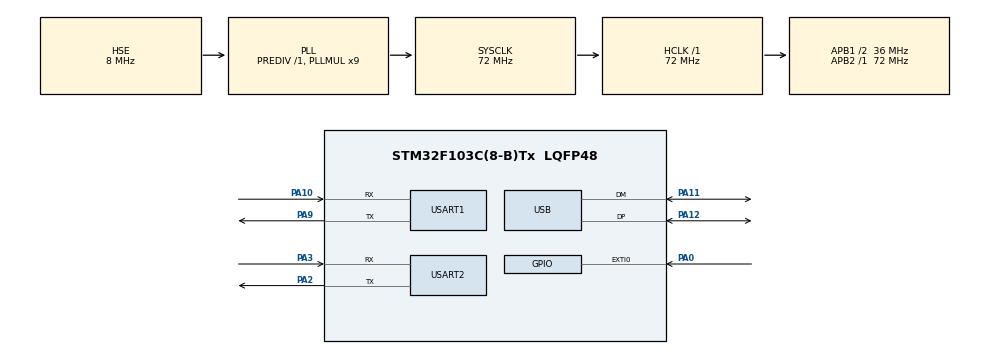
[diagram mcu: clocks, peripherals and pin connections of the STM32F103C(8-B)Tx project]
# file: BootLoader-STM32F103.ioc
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Mcu.Family=STM32F1
Mcu.Name=STM32F103C(8-B)Tx
Mcu.Package=LQFP48
NVIC.EXTI0_IRQn=true\:0\:0\:false\:false\:true\:true\:true\:true
NVIC.PriorityGroup=NVIC_PRIORITYGROUP_4
NVIC.USART1_IRQn=true\:0\:0\:false\:false\:true\:true\:true\:true
NVIC.USART2_IRQn=true\:0\:0\:false\:false\:true\:true\:true\:true
NVIC.USB_LP_CAN1_RX0_IRQn=true\:0\:0\:false\:false\:true\:false\:true\:true
PA0-WKUP.GPIO_PuPd=GPIO_PULLUP
PA0-WKUP.Signal=GPXTI0
PA10.Mode=Asynchronous
PA10.Signal=USART1_RX
PA11.Mode=Device
PA11.Signal=USB_DM
PA12.Mode=Device
PA12.Signal=USB_DP
PA13.Mode=Serial_Wire
PA13.Signal=SYS_JTMS-SWDIO
PA14.Mode=Serial_Wire
PA14.Signal=SYS_JTCK-SWCLK
PA2.Mode=Asynchronous
PA2.Signal=USART2_TX
PA3.Mode=Asynchronous
PA3.Signal=USART2_RX
PA9.Mode=Asynchronous
PA9.Signal=USART1_TX
PD0-OSC_IN.Mode=HSE-External-Oscillator
PD0-OSC_IN.Signal=RCC_OSC_IN
PD1-OSC_OUT.Mode=HSE-External-Oscillator
PD1-OSC_OUT.Signal=RCC_OSC_OUT
ProjectManager.HeapSize=0x200
ProjectManager.StackSize=0x400
ProjectManager.TargetToolchain=STM32CubeIDE
RCC.AHBFreq_Value=72000000
RCC.APB1CLKDivider=RCC_HCLK_DIV2
RCC.APB1Freq_Value=36000000
RCC.APB1TimFreq_Value=72000000
RCC.APB2Freq_Value=72000000
RCC.APB2TimFreq_Value=72000000
RCC.HCLKFreq_Value=72000000
RCC.PLLMUL=RCC_PLL_MUL9
RCC.PLLSourceVirtual=RCC_PLLSOURCE_HSE
RCC.SYSCLKFreq_VALUE=72000000
RCC.SYSCLKSource=RCC_SYSCLKSOURCE_PLLCLK
RCC.USBFreq_Value=48000000
RCC.USBPrescaler=RCC_USBCLKSOURCE_PLL_DIV1_5
USART1.VirtualMode=VM_ASYNC
USART2.VirtualMode=VM_ASYNC
USB_DEVICE.CLASS_NAME_FS=CDC
USB_DEVICE.PRODUCT_STRING_CDC_FS=STM32 Virtual Port
USB_DEVICE.VirtualMode=Cdc
USB_DEVICE.VirtualModeFS=Cdc_FS
VP_USB_DEVICE_VS_USB_DEVICE_CDC_FS.Mode=CDC_FS
board=custom

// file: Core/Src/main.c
/* USER CODE BEGIN Header */
/**
 ******************************************************************************
 * @file           : main.c
 * @brief          : Main program body
 ******************************************************************************
 * @attention
 *
 * <h2><center>&copy; Copyright (c) 2020 STMicroelectronics.
 * All rights reserved.</center></h2>
 *
 * This software component is licensed by ST under BSD 3-Clause license,
 * the "License"; You may not use this file except in compliance with the
 * License. You may obtain a copy of the License at:
 *                        opensource.org/licenses/BSD-3-Clause
 *
 ******************************************************************************
 */
/* USER CODE END Header */
#include "main.h"
#include "usb_device.h"

/* USER CODE BEGIN Includes */
#include <string.h>
#include <stdint.h>
#include <stdio.h>
#include <stdarg.h>
#include <stm32f1xx_hal_flash_ex.h>
#include "usbd_cdc_if.h"
/* USER CODE END Includes */

 UART_HandleTypeDef huart1;
UART_HandleTypeDef huart2;

/* USER CODE BEGIN PV */
#define BL_DEBUG_MSG_EN 1

#define D_UART &huart1
//#define C_UART huart2

#define FLASH_ADDRESS_APP 		0x08008000U
#define FLASH_ADDRESS_UPDATE	0x08018000U
#define INVALID_PAGE 0x04
/* USER CODE END PV */

void SystemClock_Config(void);
static void MX_GPIO_Init(void);
static void MX_USART1_UART_Init(void);
static void MX_USART2_UART_Init(void);
/* USER CODE BEGIN PFP */
void Print_Msg(char *Format,...);
void Show_Bootloader_Menu(void);
void Bootloader_Jump_To_User_App(void);
HAL_StatusTypeDef Execute_Flash_Erase(uint8_t Number_Of_Sector);
HAL_StatusTypeDef Execute_Flash_Write(uint32_t *Data_Buffer, uint32_t Flash_Address, uint32_t Length);
HAL_StatusTypeDef Execute_Flash_Read(uint32_t Flash_Address, uint32_t *Rx_Buffer, uint32_t Number_Of_Words);
void Get_Binary_File_From_UART(void);
uint8_t Get_UART_Byte(void);
/* USER CODE END PFP */

/* USER CODE BEGIN 0 */
GPIO_PinState Pin_Status = GPIO_PIN_SET;
HAL_StatusTypeDef Ret_Code;

uint8_t UART_Buffer = 0;
uint8_t UART_Data_Available = 0;
char Test_Write_Buffer[] = "Testing Flash Writing\n";
char Test_Read_Buffer[24] = {0};
uint8_t Length = 24;
/* USER CODE END 0 */

int main(void)
{

  /* MCU Configuration--------------------------------------------------------*/

  /* Reset of all peripherals, Initializes the Flash interface and the Systick. */
  HAL_Init();

  /* Configure the system clock */
  SystemClock_Config();

  /* Initialize all configured peripherals */
  MX_GPIO_Init();
  MX_USART1_UART_Init();
  MX_USART2_UART_Init();
  MX_USB_DEVICE_Init();
  /* USER CODE BEGIN 2 */
	HAL_UART_Receive_IT(&huart1, (uint8_t*)&UART_Buffer, sizeof(UART_Buffer));
	Print_Msg("Press Button Within 3 Seconds to Boot Into Bootloader\r\n");
	Print_Msg("3\r\n");
	HAL_Delay(1000);
	Print_Msg("2\r\n");
	HAL_Delay(1000);
	Print_Msg("1\r\n");
	HAL_Delay(1000);
	if( Pin_Status == GPIO_PIN_RESET)
	{
		Print_Msg("********** Welcome to STM32F1xx Bootloader **********\r\n");
		Show_Bootloader_Menu();
	}
	else
	{
		Print_Msg("Booting into Application\r\n");
		Bootloader_Jump_To_User_App();
	}
  /* USER CODE END 2 */

  /* Infinite loop */
	while (1)
	{

    /* USER CODE BEGIN 3 */
		if(UART_Data_Available == 1)
		{
			switch(UART_Buffer)
			{
			case '1':
				Print_Msg("Send Application Binary File\r\n");
				Get_Binary_File_From_UART();
				break;
			case '2':
				Print_Msg("Send Bootloader Binary File\r\n");
				break;
			case '3':
				Print_Msg("Booting into Application\r\n");
				Bootloader_Jump_To_User_App();
				break;
			default:
				Print_Msg("Invalid option, try again\r\n");
				Show_Bootloader_Menu();
				break;

			}
			UART_Data_Available = 0;
		}

	}
  /* USER CODE END 3 */
}

void SystemClock_Config(void)
{
  RCC_OscInitTypeDef RCC_OscInitStruct = {0};
  RCC_ClkInitTypeDef RCC_ClkInitStruct = {0};
  RCC_PeriphCLKInitTypeDef PeriphClkInit = {0};

  /** Initializes the RCC Oscillators according to the specified parameters
  * in the RCC_OscInitTypeDef structure.
  */
  RCC_OscInitStruct.OscillatorType = RCC_OSCILLATORTYPE_HSE;
  RCC_OscInitStruct.HSEState = RCC_HSE_ON;
  RCC_OscInitStruct.HSEPredivValue = RCC_HSE_PREDIV_DIV1;
  RCC_OscInitStruct.HSIState = RCC_HSI_ON;
  RCC_OscInitStruct.PLL.PLLState = RCC_PLL_ON;
  RCC_OscInitStruct.PLL.PLLSource = RCC_PLLSOURCE_HSE;
  RCC_OscInitStruct.PLL.PLLMUL = RCC_PLL_MUL9;
  if (HAL_RCC_OscConfig(&RCC_OscInitStruct) != HAL_OK)
  {
    Error_Handler();
  }

  /** Initializes the CPU, AHB and APB buses clocks
  */
  RCC_ClkInitStruct.ClockType = RCC_CLOCKTYPE_HCLK|RCC_CLOCKTYPE_SYSCLK
                              |RCC_CLOCKTYPE_PCLK1|RCC_CLOCKTYPE_PCLK2;
  RCC_ClkInitStruct.SYSCLKSource = RCC_SYSCLKSOURCE_PLLCLK;
  RCC_ClkInitStruct.AHBCLKDivider = RCC_SYSCLK_DIV1;
  RCC_ClkInitStruct.APB1CLKDivider = RCC_HCLK_DIV2;
  RCC_ClkInitStruct.APB2CLKDivider = RCC_HCLK_DIV1;

  if (HAL_RCC_ClockConfig(&RCC_ClkInitStruct, FLASH_LATENCY_2) != HAL_OK)
  {
    Error_Handler();
  }
  PeriphClkInit.PeriphClockSelection = RCC_PERIPHCLK_USB;
  PeriphClkInit.UsbClockSelection = RCC_USBCLKSOURCE_PLL_DIV1_5;
  if (HAL_RCCEx_PeriphCLKConfig(&PeriphClkInit) != HAL_OK)
  {
    Error_Handler();
  }
}

static void MX_USART1_UART_Init(void)
{

  huart1.Instance = USART1;
  huart1.Init.BaudRate = 115200;
  huart1.Init.WordLength = UART_WORDLENGTH_8B;
  huart1.Init.StopBits = UART_STOPBITS_1;
  huart1.Init.Parity = UART_PARITY_NONE;
  huart1.Init.Mode = UART_MODE_TX_RX;
  huart1.Init.HwFlowCtl = UART_HWCONTROL_NONE;
  huart1.Init.OverSampling = UART_OVERSAMPLING_16;
  if (HAL_UART_Init(&huart1) != HAL_OK)
  {
    Error_Handler();
  }

}

static void MX_USART2_UART_Init(void)
{

  huart2.Instance = USART2;
  huart2.Init.BaudRate = 115200;
  huart2.Init.WordLength = UART_WORDLENGTH_8B;
  huart2.Init.StopBits = UART_STOPBITS_1;
  huart2.Init.Parity = UART_PARITY_NONE;
  huart2.Init.Mode = UART_MODE_TX_RX;
  huart2.Init.HwFlowCtl = UART_HWCONTROL_NONE;
  huart2.Init.OverSampling = UART_OVERSAMPLING_16;
  if (HAL_UART_Init(&huart2) != HAL_OK)
  {
    Error_Handler();
  }

}

static void MX_GPIO_Init(void)
{
  GPIO_InitTypeDef GPIO_InitStruct = {0};

  /* GPIO Ports Clock Enable */
  __HAL_RCC_GPIOD_CLK_ENABLE();
  __HAL_RCC_GPIOA_CLK_ENABLE();

  /*Configure GPIO pin : PA0 */
  GPIO_InitStruct.Pin = GPIO_PIN_0;
  GPIO_InitStruct.Mode = GPIO_MODE_IT_RISING;
  GPIO_InitStruct.Pull = GPIO_PULLUP;
  HAL_GPIO_Init(GPIOA, &GPIO_InitStruct);

  /* EXTI interrupt init*/
  HAL_NVIC_SetPriority(EXTI0_IRQn, 0, 0);
  HAL_NVIC_EnableIRQ(EXTI0_IRQn);

}

/* USER CODE BEGIN 4 */
void Bootloader_Jump_To_User_App(void)
{
	//just a function pointer to hold the address of the reset handler of the user app.
	void (*App_Reset_Handler)(void);

	// 1. configure the MSP by reading the value from the base address of the sector 2
	uint32_t MSP_Value = *(volatile uint32_t *)FLASH_ADDRESS_APP;

	//This function comes from CMSIS.
	__set_MSP(MSP_Value);

	/* 2. Now fetch the reset handler address of the user application
	 * from the location FLASH_SECTOR2_BASE_ADDRESS+4
	 */
	uint32_t Reset_Handler_Address = *(volatile uint32_t *) (FLASH_ADDRESS_APP + 4);

	App_Reset_Handler = (void*) Reset_Handler_Address;

	//3. jump to reset handler of the user application
	App_Reset_Handler();

}
void  (char *Format,...)
{
#ifdef BL_DEBUG_MSG_EN
	char Str[80];

	/*Extract the the argument list using VA apis */
	va_list Args;
	va_start(Args, Format);
	vsprintf(Str, Format, Args);
	//HAL_UART_Transmit(D_UART,(uint8_t *)Str, strlen(Str),HAL_MAX_DELAY);
	CDC_Transmit_FS((uint8_t *)Str, strlen(Str));
	va_end(Args);
#endif
}
void Show_Bootloader_Menu(void)
{
	Print_Msg("1. Upgrade Application\n");
	Print_Msg("2. Upgrade Bootloader\n");
	Print_Msg("3. Boot into Application\n");
}
void HAL_GPIO_EXTI_Callback(uint16_t GPIO_Pin)
{
	if(GPIO_Pin == GPIO_PIN_0)
	{
		Pin_Status = GPIO_PIN_RESET;
	}
}
void HAL_UART_RxCpltCallback(UART_HandleTypeDef *huart)
{
	HAL_UART_Receive_IT(&huart1, (uint8_t*)&UART_Buffer, sizeof(UART_Buffer));
	UART_Data_Available = 1;
}
HAL_StatusTypeDef Execute_Flash_Erase(uint8_t Number_Of_Page)
{
	FLASH_EraseInitTypeDef FlashErase_Handle;
	uint32_t Sector_Error;
	HAL_StatusTypeDef Status;

	if( Number_Of_Page > 128 )
	{
		return INVALID_PAGE;
	}
	FlashErase_Handle.TypeErase = FLASH_TYPEERASE_PAGES;
	FlashErase_Handle.PageAddress = FLASH_ADDRESS_APP; // this is the initial page
	FlashErase_Handle.NbPages = Number_Of_Page;

	/*Get access to touch the flash registers */
	HAL_FLASH_Unlock();
	Status = HAL_FLASHEx_Erase(&FlashErase_Handle, &Sector_Error);
	HAL_FLASH_Lock();
	return Status;
}
HAL_StatusTypeDef Execute_Flash_Write(uint32_t *Data_Buffer, uint32_t Flash_Address, uint32_t Length)
{
	HAL_StatusTypeDef Status = HAL_OK;
	uint32_t Data_Buffer_Bytes_Count = 0;

	//We have to unlock flash module to get control of registers
	HAL_FLASH_Unlock();
	for(Data_Buffer_Bytes_Count = 0; Data_Buffer_Bytes_Count < Length ; Data_Buffer_Bytes_Count++)
	{
		//Here we program the flash word by word
		Status = HAL_FLASH_Program(FLASH_TYPEPROGRAM_WORD,
				Flash_Address, (uint32_t)Data_Buffer[Data_Buffer_Bytes_Count] );
		Flash_Address = Flash_Address + 4;
	}
	HAL_FLASH_Lock();

	return Status;
}
HAL_StatusTypeDef Execute_Flash_Read(uint32_t Flash_Address, uint32_t *Rx_Buffer, uint32_t Number_Of_Words)
{
	while (1)
	{
		*Rx_Buffer = *(__IO uint32_t*)Flash_Address;
		Flash_Address += 4;
		Rx_Buffer++;
		if (!(Number_Of_Words--))
			break;
	}
	return HAL_OK;
}
void Get_Binary_File_From_UART(void)
{
	uint8_t Temp_Buffer[100] = {0x00};
	uint8_t UART_Byte_Count = 0;
	uint32_t Flash_Address = FLASH_ADDRESS_UPDATE;
	while(1)
	{
		if(UART_Data_Available == 1)
		{
			if(UART_Buffer == '\n')
				break;
			Temp_Buffer[UART_Byte_Count++] = UART_Buffer;
			if(UART_Byte_Count == 100)
				break;
#if 0
		if(UART_Byte_Count == 3)
		{
			UART_Byte_Count = 0;
			Execute_Flash_Write(Temp_Buffer, Flash_Address, 4);
			Flash_Address = Flash_Address + 4;
		}
#endif
			UART_Data_Available = 0;
		}

	}
}
uint8_t Get_UART_Byte(void)
{
	uint8_t UART_Temp_Buffer = 0;;
	HAL_UART_Receive_IT(&huart1, (uint8_t*)&UART_Temp_Buffer, sizeof(UART_Temp_Buffer));
	return UART_Temp_Buffer;
}
/* USER CODE END 4 */

void Error_Handler(void)
{
}
